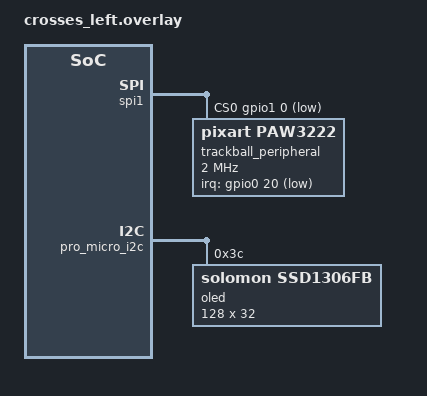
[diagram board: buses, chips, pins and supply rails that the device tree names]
/*
 * Copyright (c) 2025 Vincent Franco
 * SPDX-License-Identifier: MIT
 */

#include "crosses.dtsi"
#include <zephyr/dt-bindings/input/input-event-codes.h>

&kscan0 {
  col-gpios
    = <&pro_micro 0 GPIO_ACTIVE_HIGH>
    , <&pro_micro 18 GPIO_ACTIVE_HIGH>
    , <&pro_micro 15 GPIO_ACTIVE_HIGH>
    , <&pro_micro 10 GPIO_ACTIVE_HIGH>
    , <&pro_micro 16 GPIO_ACTIVE_HIGH>
    , <&pro_micro 14 GPIO_ACTIVE_HIGH>
    ;
};

&spi1 {
    status = "okay";
    compatible = "nordic,nrf-spim";
    pinctrl-0 = <&spi1_default>;
    pinctrl-1 = <&spi1_sleep>;
    pinctrl-names = "default", "sleep";
    cs-gpios = <&gpio1 0 GPIO_ACTIVE_LOW>;

    trackball_peripheral: trackball_peripheral@0 {
        status = "okay";
        compatible = "pixart,paw3222";
        reg = <0>;
        spi-max-frequency = <2000000>;
        irq-gpios = <&gpio0 20 GPIO_ACTIVE_LOW>;
    };
};

// Overrides for the input-split child node
&trackball_peripheral_split {
  device = <&trackball_peripheral>;
  input-processors
    = <&zip_xy_to_scroll_mapper>
    , <&zip_scroll_scaler 1 4>
    , <&zip_ble_report_rate_limit>;
};

&pro_micro_i2c {
    status = "okay";

    oled: ssd1306@3c {
        compatible = "solomon,ssd1306fb";
        reg = <0x3c>;
        width = <128>;
        height = <32>;
        segment-offset = <0>;
        page-offset = <0>;
        display-offset = <0>;
        multiplex-ratio = <31>;
        com-sequential;
        inversion-on;
        prechargep = <0x22>;
    };
};
